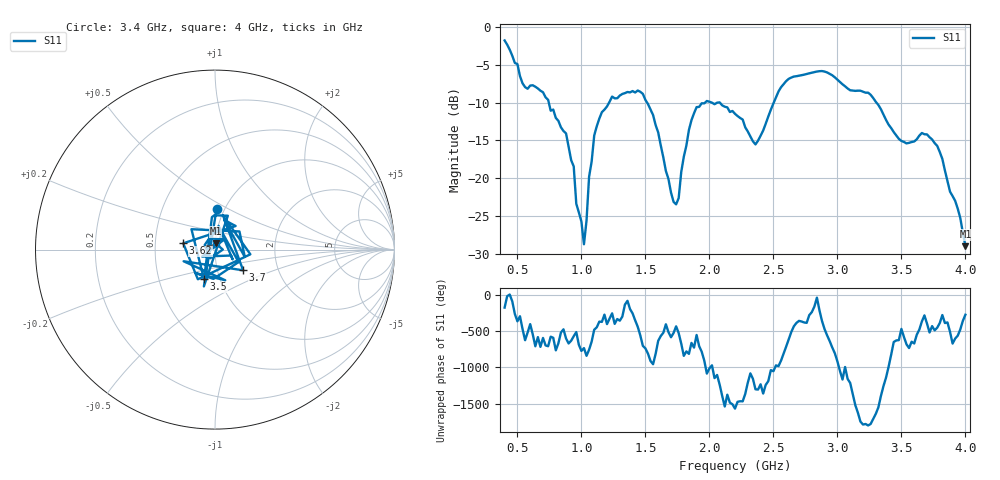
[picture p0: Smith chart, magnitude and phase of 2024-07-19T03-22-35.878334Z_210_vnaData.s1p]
!Created with skrf (http://scikit-rf.org).
# Hz S RI R 50.0
!freq ReS11 ImS11
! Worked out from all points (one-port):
!   181 points, 400 MHz to 4 GHz, reference 50 ohm
!   lowest |S11| = -29.0 dB at 4 GHz (marker M1), VSWR 1.07, Z = 50.2 + j3.55 ohm
!   |S11| at or under -10 dB: 744.9 MHz to 1.217 GHz (471.8 MHz wide, 48.1 % of centre); 1.513 GHz to 1.967 GHz (454.4 MHz wide, 26.1 % of centre); 3.305 GHz to end of sweep (the widest 3 of 5)
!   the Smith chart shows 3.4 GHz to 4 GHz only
!   S11 on the Smith chart (normalised r, x): 3.4 GHz: 0.92, +0.44; 3.5 GHz: 0.84, -0.29; 3.62 GHz: 0.70, +0.05; 3.7 GHz: 1.33, -0.32; 4 GHz: 1.00, +0.07
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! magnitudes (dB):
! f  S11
! 400 MHz  -1.8
! 540 MHz  -7.5
! 700 MHz  -8.6
! 860 MHz  -13.8
! 940 MHz  -18.5
! 960 MHz  -23.4
! 1.02 GHz  -28.8
! 1.06 GHz  -19.8
! 1.1 GHz  -14.4
! 1.3 GHz  -9.1
! 1.48 GHz  -8.9
! 1.6 GHz  -14.0
! 1.72 GHz  -23.1
! 1.76 GHz  -22.6
! 1.84 GHz  -13.6
! 1.9 GHz  -10.6
! 2.2 GHz  -11.5
! 2.36 GHz  -15.5
! 2.66 GHz  -6.6
! 3.1 GHz  -8.4
! 3.26 GHz  -9.0
! 3.4 GHz  -12.9
! 3.5 GHz  -15.1
! 3.56 GHz  -15.3
! 3.62 GHz  -14.9
! 3.7 GHz  -14.2
! 3.82 GHz  -17.5
! 4 GHz  -29.0
